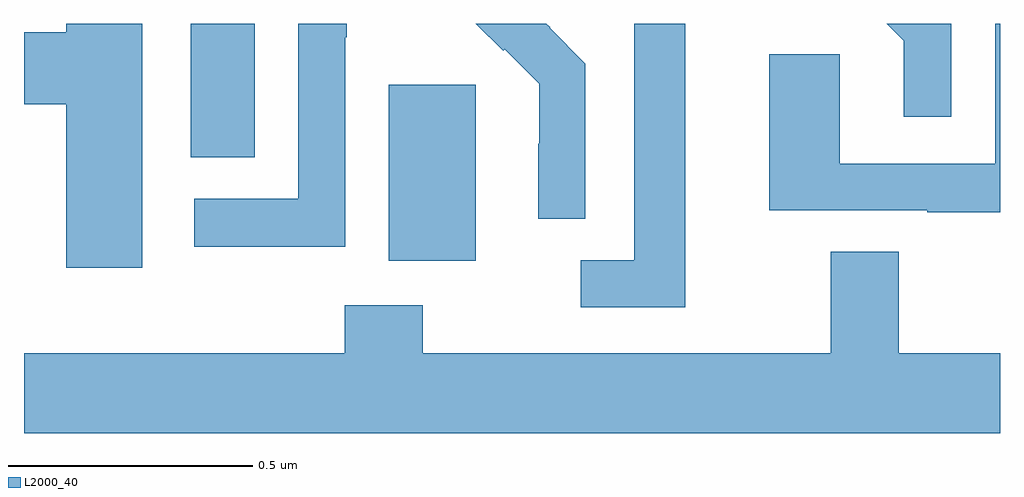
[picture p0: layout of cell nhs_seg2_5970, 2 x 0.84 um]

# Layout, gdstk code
import gdstk
lib = gdstk.Library(unit=1e-6, precision=1e-09)
def R(c, l, rs):  # rectangles x0, y0, x1, y1
    for r in rs: c.add(gdstk.rectangle(r[:2], r[2:], *l))
def P(c, l, *ps):  # polygons
    for p in ps: c.add(gdstk.Polygon(p, *l))
L2000_40 = (2000, 40)

nhs_seg2_5970 = lib.new_cell('nhs_seg2_5970')
R(nhs_seg2_5970, L2000_40, [(185.747,657.314,185.926,657.675), (185.342,657.526,185.473,657.8)])
P(nhs_seg2_5970, L2000_40, [(185.242,657.8),(185.087,657.8),(185.087,657.782),(185,657.782),(185,657.635),(185.087,657.635),(185.087,657.3),(185.242,657.3)],
  [(187,657.8),(186.99,657.8),(186.99,657.513),(186.672,657.513),(186.672,657.737),(186.527,657.737),(186.527,657.417),(186.851,657.417),(186.851,657.413),(187,657.413)],
  [(186.355,657.8),(186.251,657.8),(186.251,657.315),(186.141,657.315),(186.141,657.219),(186.355,657.219)],
  [(186.9,657.8),(186.768,657.8),(186.803,657.765),(186.803,657.609),(186.9,657.609)],
  [(185.658,657.772),(185.661,657.772),(185.661,657.8),(185.562,657.8),(185.562,657.441),(185.349,657.441),(185.349,657.343),(185.658,657.343)],
  [(186.15,657.718),(186.077,657.791),(186.078,657.792),(186.07,657.8),(185.926,657.8),(185.982,657.744),(185.985,657.747),(186.056,657.677),(186.056,657.554),(186.054,657.554),(186.054,657.4),(186.15,657.4)],
  [(187,657.124),(186.793,657.124),(186.793,657.332),(186.653,657.332),(186.653,657.124),(185.817,657.124),(185.817,657.223),(185.657,657.223),(185.657,657.124),(185,657.124),(185,656.96),(187,656.96)])

lib.write_gds('nhs_seg2_5970.gds')
